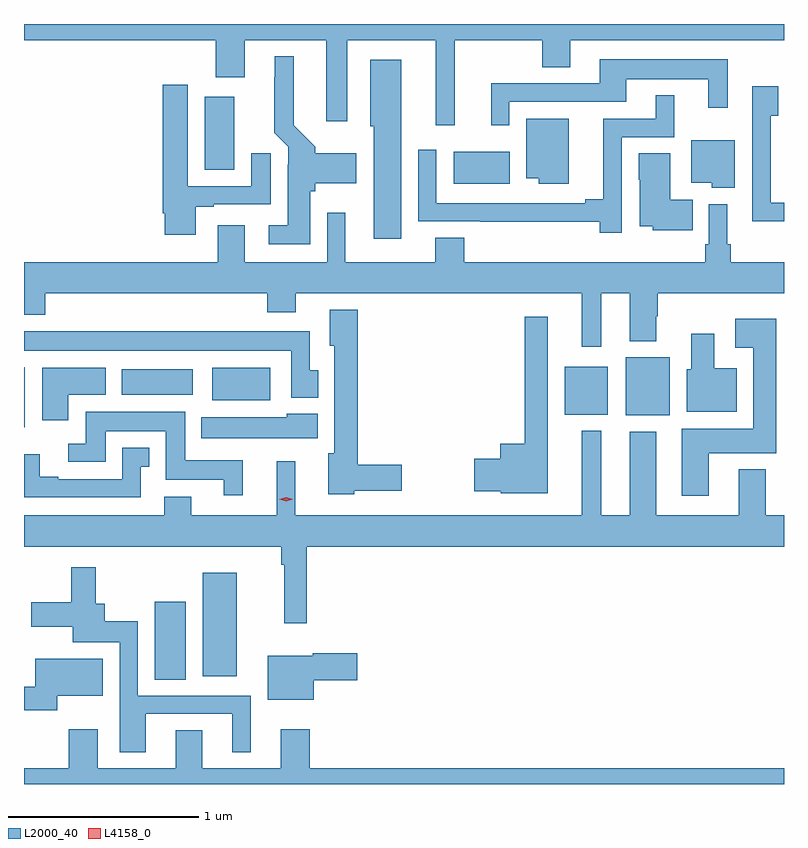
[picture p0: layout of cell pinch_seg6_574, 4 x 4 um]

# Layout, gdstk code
import gdstk
lib = gdstk.Library(unit=1e-6, precision=1e-09)
def R(c, l, rs):  # rectangles x0, y0, x1, y1
    for r in rs: c.add(gdstk.rectangle(r[:2], r[2:], *l))
def P(c, l, *ps):  # polygons
    for p in ps: c.add(gdstk.Polygon(p, *l))
L2000_40 = (2000, 40)
L4158_0 = (4158, 0)

pinch_seg6_574 = lib.new_cell('pinch_seg6_574')
R(pinch_seg6_574, L2000_40, [(543.164,963.952,543.328,964.36), (543.416,963.968,543.595,964.513), (542.476,965.28,542.479,965.596), (545.642,965.342,545.875,965.647), (545.321,965.345,545.548,965.599), (543.467,965.423,543.772,965.593), (542.99,965.45,543.364,965.584), (544.739,966.56,545.032,966.73), (543.428,966.634,543.583,967.018)])
P(pinch_seg6_574, L2000_40, [(544.742,967.316),(545.203,967.316),(545.203,967.174),(545.35,967.174),(545.35,967.316),(546.476,967.316),(546.476,967.402),(542.476,967.402),(542.476,967.316),(543.485,967.316),(543.485,967.122),(543.637,967.122),(543.637,967.316),(544.067,967.316),(544.067,966.891),(544.177,966.891),(544.177,967.316),(544.643,967.316),(544.643,966.87),(544.742,966.87)],
  [(543.982,966.522),(544.008,966.522),(544.008,966.563),(544.225,966.563),(544.225,966.721),(544.008,966.721),(544.008,966.755),(543.895,966.868),(543.895,967.231),(543.797,967.231),(543.797,967.121),(543.794,967.121),(543.794,966.829),(543.867,966.756),(543.867,966.662),(543.863,966.662),(543.863,966.343),(543.765,966.343),(543.765,966.242),(543.982,966.242)],
  [(545.031,966.993),(545.647,966.993),(545.647,967.112),(546.077,967.112),(546.077,966.96),(546.181,966.96),(546.181,967.216),(545.507,967.216),(545.507,967.089),(544.934,967.089),(544.934,966.87),(545.031,966.87)],
  [(544.462,967.213),(544.298,967.213),(544.298,966.864),(544.316,966.864),(544.316,966.273),(544.462,966.273)],
  [(543.379,966.441),(543.475,966.441),(543.475,966.453),(543.775,966.453),(543.775,966.721),(543.671,966.721),(543.671,966.549),(543.337,966.549),(543.337,967.081),(543.206,967.081),(543.206,966.406),(543.218,966.406),(543.218,966.294),(543.379,966.294)],
  [(546.476,966.462),(546.405,966.462),(546.405,966.919),(546.445,966.919),(546.445,967.075),(546.309,967.075),(546.309,966.365),(546.476,966.365)],
  [(545.622,966.807),(545.899,966.807),(545.899,967.027),(545.801,967.027),(545.801,966.903),(545.525,966.903),(545.525,966.479),(545.429,966.479),(545.429,966.459),(544.647,966.459),(544.647,966.739),(544.551,966.739),(544.551,966.363),(544.876,966.363),(544.876,966.362),(545.506,966.362),(545.506,966.303),(545.622,966.303)],
  [(545.344,966.904),(545.12,966.904),(545.12,966.59),(545.186,966.59),(545.186,966.56),(545.344,966.56)],
  [(546.217,966.79),(545.987,966.79),(545.987,966.566),(546.096,966.566),(546.096,966.539),(546.217,966.539)],
  [(545.996,966.478),(545.878,966.478),(545.878,966.722),(545.711,966.722),(545.711,966.582),(545.717,966.582),(545.717,966.338),(545.784,966.338),(545.784,966.317),(545.996,966.317)],
  [(545.515,965.984),(545.663,965.984),(545.663,965.732),(545.803,965.732),(545.803,965.864),(545.811,965.864),(545.811,965.984),(546.476,965.984),(546.476,966.148),(546.197,966.148),(546.197,966.244),(546.178,966.244),(546.178,966.454),(546.081,966.454),(546.081,966.244),(546.061,966.244),(546.061,966.148),(544.793,966.148),(544.793,966.278),(544.64,966.278),(544.64,966.148),(544.168,966.148),(544.168,966.409),(544.071,966.409),(544.071,966.148),(543.637,966.148),(543.637,966.343),(543.497,966.343),(543.497,966.148),(542.476,966.148),(542.476,965.873),(542.588,965.873),(542.588,965.984),(543.755,965.984),(543.755,965.885),(543.907,965.885),(543.907,965.984),(545.411,965.984),(545.411,965.703),(545.515,965.703)],
  [(544.215,964.946),(544.465,964.946),(544.465,965.081),(544.232,965.081),(544.232,965.899),(544.085,965.899),(544.085,965.709),(544.109,965.709),(544.109,965.142),(544.076,965.142),(544.076,964.928),(544.215,964.928)],
  [(545.233,965.86),(545.112,965.86),(545.112,965.194),(544.982,965.194),(544.982,965.114),(544.845,965.114),(544.845,964.943),(544.986,964.943),(544.986,964.931),(545.233,964.931)],
  [(546.079,965.144),(546.436,965.144),(546.436,965.851),(546.219,965.851),(546.219,965.699),(546.314,965.699),(546.314,965.272),(545.939,965.272),(545.939,964.92),(546.079,964.92)],
  [(544.024,965.58),(543.979,965.58),(543.979,965.785),(542.476,965.785),(542.476,965.681),(543.882,965.681),(543.882,965.436),(544.024,965.436)],
  [(546.226,965.59),(546.109,965.59),(546.109,965.773),(545.987,965.773),(545.987,965.586),(545.963,965.586),(545.963,965.36),(546.226,965.36)],
  [(542.71,965.45),(542.905,965.45),(542.905,965.593),(542.573,965.593),(542.573,965.316),(542.71,965.316)],
  [(543.626,965.107),(543.325,965.107),(543.325,965.362),(542.801,965.362),(542.801,965.193),(542.709,965.193),(542.709,965.097),(542.905,965.097),(542.905,965.258),(543.221,965.258),(543.221,965.003),(543.527,965.003),(543.527,964.923),(543.626,964.923)],
  [(544.021,965.35),(543.858,965.35),(543.858,965.332),(543.41,965.332),(543.41,965.222),(544.021,965.222)],
  [(543.965,964.652),(546.476,964.652),(546.476,964.816),(546.379,964.816),(546.379,965.059),(546.239,965.059),(546.239,964.816),(545.803,964.816),(545.803,965.257),(545.663,965.257),(545.663,964.816),(545.515,964.816),(545.515,965.26),(545.411,965.26),(545.411,964.816),(543.904,964.816),(543.904,965.101),(543.806,965.101),(543.806,964.816),(543.355,964.816),(543.355,964.915),(543.215,964.915),(543.215,964.816),(542.476,964.816),(542.476,964.652),(543.829,964.652),(543.829,964.556),(543.847,964.556),(543.847,964.248),(543.965,964.248)],
  [(543.09,965.073),(543.136,965.073),(543.136,965.173),(542.994,965.173),(542.994,965.007),(542.656,965.007),(542.656,965.02),(542.56,965.02),(542.56,965.137),(542.476,965.137),(542.476,964.911),(543.09,964.911)],
  [(543.118,963.771),(543.572,963.771),(543.572,963.57),(543.67,963.57),(543.67,963.867),(543.075,963.867),(543.075,964.258),(542.902,964.258),(542.902,964.351),(542.854,964.351),(542.854,964.543),(542.725,964.543),(542.725,964.359),(542.514,964.359),(542.514,964.229),(542.732,964.229),(542.732,964.149),(542.979,964.149),(542.979,963.57),(543.118,963.57)],
  [(544,963.949),(544.231,963.949),(544.231,964.091),(543.996,964.091),(543.996,964.078),(543.758,964.078),(543.758,963.845),(544,963.845)],
  [(542.65,963.866),(542.89,963.866),(542.89,964.06),(542.534,964.06),(542.534,963.915),(542.476,963.915),(542.476,963.79),(542.65,963.79)],
  [(546.476,963.484),(543.98,963.484),(543.98,963.691),(543.827,963.691),(543.827,963.484),(543.415,963.484),(543.415,963.686),(543.275,963.686),(543.275,963.484),(542.863,963.484),(542.863,963.691),(542.711,963.691),(542.711,963.484),(542.476,963.484),(542.476,963.402),(546.476,963.402)])
P(pinch_seg6_574, L4158_0, [(543.855,964.891),(543.819,964.901),(543.819,964.901),(543.819,964.902),(543.855,964.911),(543.89,964.901),(543.891,964.901),(543.89,964.901)])

lib.write_gds('pinch_seg6_574.gds')
